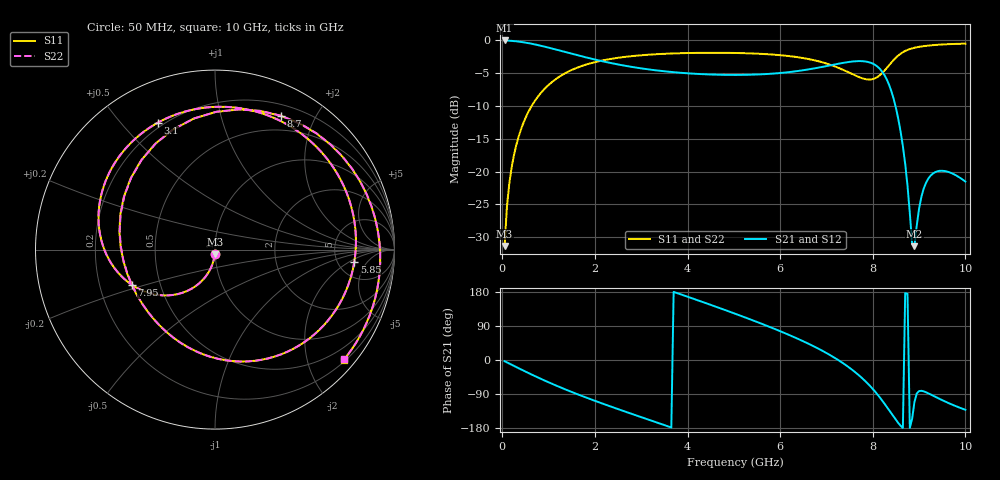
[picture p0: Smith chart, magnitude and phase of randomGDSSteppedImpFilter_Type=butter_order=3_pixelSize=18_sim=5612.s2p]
! freq	dB(S11)	phase(S11)	dB(S12)	phase(S12)
!  dB(S21)	phase(S21)	dB(S22)	phase(S22)
!S-par simulation data
#  GHz  S  DB  R 50
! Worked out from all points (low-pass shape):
!   200 points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, 50 MHz to 10 GHz, reference 50 ohm
!   highest |S21| = -0.01 dB at 50 MHz (marker M1); lowest = -31.4 dB at 8.9 GHz (marker M2)
!   |S21| within 3 dB of the highest: start of sweep to 2.055 GHz
!   lowest |S11| = -31.3 dB at 50 MHz (marker M3), VSWR 1.06, Z = 49.8 - j2.7 ohm
!   |S11| at or under -10 dB: start of sweep to 634.6 MHz
!   |S22| runs from -31.3 to -0.5 dB; largest |S21 - S12| = 0
!   S11 on the Smith chart (normalised r, x): 50 MHz: 1.00, -0.05; 3.1 GHz: 0.18, +0.63; 5.85 GHz: 7.20, -2.47; 7.95 GHz: 0.34, -0.18; 8.7 GHz: 0.32, +1.56; 10 GHz: 0.24, -2.68
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0.05  -31.33 -93.2  -0.01 -3.2  -0.01 -3.2  -31.33 -93.2
0.2  -19.44 -102.8  -0.07 -12.4  -0.07 -12.4  -19.44 -102.8
0.5  -11.84 -121.1  -0.34 -30.6  -0.34 -30.6  -11.84 -121.1
1.05  -6.48 -152.2  -1.19 -61.6  -1.19 -61.6  -6.48 -152.1
1.75  -3.82 173.0  -2.49 -96.3  -2.49 -96.3  -3.82 173.1
3.1  -2.21 114.2  -4.37 -155.0  -4.37 -155.0  -2.21 114.4
3.4  -2.08 101.7  -4.63 -167.6  -4.63 -167.6  -2.08 101.9
4.2  -1.90 68.1  -5.11 158.5  -5.11 158.5  -1.90 68.3
5.05  -1.92 31.5  -5.27 121.2  -5.27 121.2  -1.92 31.6
5.85  -2.17 -5.0  -5.06 83.5  -5.06 83.5  -2.17 -4.9
6.7  -2.97 -48.7  -4.32 37.7  -4.32 37.7  -2.97 -48.8
7.45  -4.78 -100.4  -3.32 -16.3  -3.32 -16.3  -4.79 -101.0
7.95  -5.96 -156.7  -3.40 -69.6  -3.40 -69.6  -5.97 -157.7
8.15  -5.33 169.6  -4.32 -98.4  -4.32 -98.4  -5.33 168.7
8.35  -3.81 129.8  -6.73 -132.2  -6.73 -132.2  -3.79 129.1
8.55  -2.31 89.7  -11.94 -166.1  -11.94 -166.1  -2.29 89.4
8.7  -1.61 63.7  -18.84 176.3  -18.84 176.3  -1.60 63.6
8.85  -1.21 42.4  -30.98 -154.9  -30.98 -154.9  -1.21 42.4
8.9  -1.12 36.2  -31.38 -110.8  -31.38 -110.8  -1.12 36.3
9.05  -0.92 20.1  -23.85 -81.3  -23.85 -81.3  -0.92 20.2
9.25  -0.75 2.7  -20.61 -90.9  -20.61 -90.9  -0.75 2.9
10  -0.50 -40.6  -21.52 -131.4  -21.52 -131.4  -0.50 -40.3
